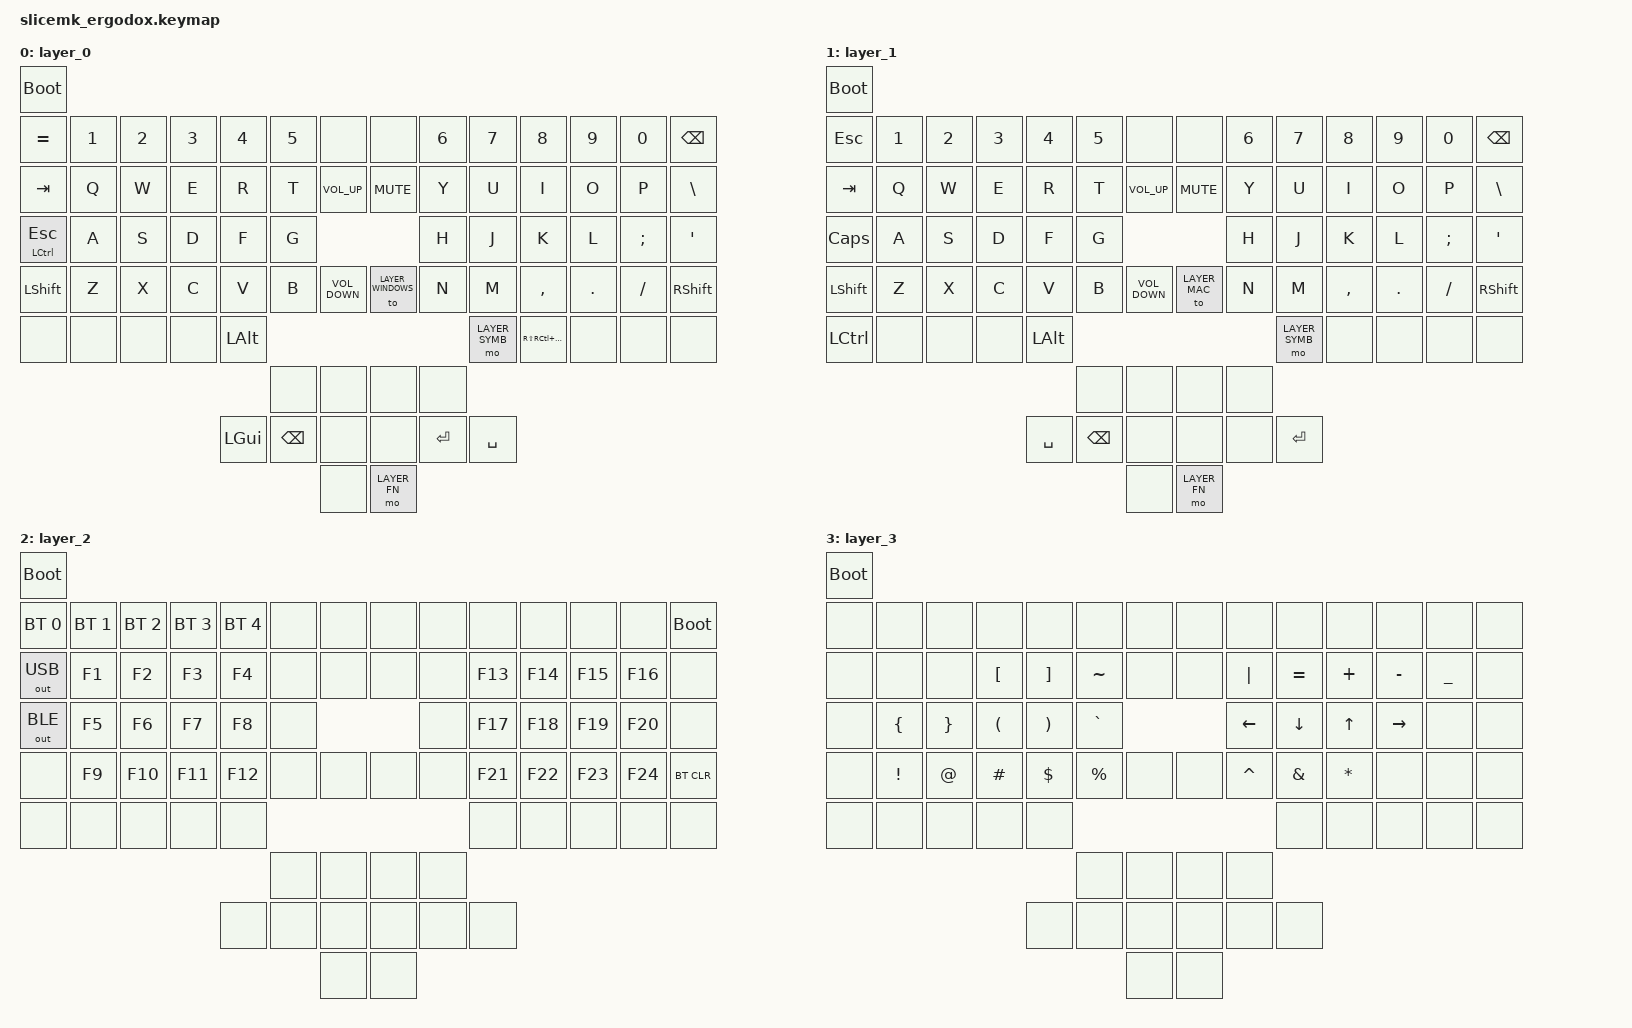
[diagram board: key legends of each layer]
#define LAYER_MAC 0
#define LAYER_WINDOWS 1
#define LAYER_FN 2
#define LAYER_SYMB 3

#include <behaviors.dtsi>
#include <dt-bindings/zmk/bt.h>
#include <dt-bindings/zmk/keys.h>
#include <dt-bindings/zmk/mouse.h>
#include <dt-bindings/zmk/outputs.h>
#include <dt-bindings/zmk/rgb.h>

/ {
	keymap {
		compatible = "zmk,keymap";
		layer_0 {
			bindings = <
				&bootloader
				&kp EQUAL               &kp NUMBER_1 &kp NUMBER_2 &kp NUMBER_3 &kp NUMBER_4 &kp NUMBER_5  &none             &none             &kp NUMBER_6 &kp NUMBER_7   &kp NUMBER_8          &kp NUMBER_9 &kp NUMBER_0  &kp BACKSPACE
				&kp TAB                 &kp Q        &kp W        &kp E        &kp R        &kp T         &kp C_VOLUME_UP   &kp C_MUTE        &kp Y        &kp U          &kp I                 &kp O        &kp P         &kp BACKSLASH
				&mt LEFT_CONTROL ESCAPE &kp A        &kp S        &kp D        &kp F        &kp G                                             &kp H        &kp J          &kp K                 &kp L        &kp SEMICOLON &kp SINGLE_QUOTE
				&kp LEFT_SHIFT          &kp Z        &kp X        &kp C        &kp V        &kp B         &kp C_VOLUME_DOWN &to LAYER_WINDOWS &kp N        &kp M          &kp COMMA             &kp PERIOD   &kp SLASH     &kp RIGHT_SHIFT
				&none                   &none        &none        &none        &kp LEFT_ALT                                                                &mo LAYER_SYMB &kp RS(RC(RIGHT_ALT)) &none        &none         &none
				                                                                            &none         &none             &none             &none
				                                                               &kp LEFT_GUI &kp BACKSPACE &none             &none             &kp RETURN   &kp SPACE
				                                                                                          &none             &mo LAYER_FN
			>;
		};
		layer_1 {
			bindings = <
				&bootloader
				&kp ESCAPE       &kp NUMBER_1 &kp NUMBER_2 &kp NUMBER_3 &kp NUMBER_4 &kp NUMBER_5  &none             &none         &kp NUMBER_6 &kp NUMBER_7   &kp NUMBER_8 &kp NUMBER_9 &kp NUMBER_0  &kp BACKSPACE
				&kp TAB          &kp Q        &kp W        &kp E        &kp R        &kp T         &kp C_VOLUME_UP   &kp C_MUTE    &kp Y        &kp U          &kp I        &kp O        &kp P         &kp BACKSLASH
				&kp CAPSLOCK     &kp A        &kp S        &kp D        &kp F        &kp G                                         &kp H        &kp J          &kp K        &kp L        &kp SEMICOLON &kp SINGLE_QUOTE
				&kp LEFT_SHIFT   &kp Z        &kp X        &kp C        &kp V        &kp B         &kp C_VOLUME_DOWN &to LAYER_MAC &kp N        &kp M          &kp COMMA    &kp PERIOD   &kp SLASH     &kp RIGHT_SHIFT
				&kp LEFT_CONTROL &none        &none        &none        &kp LEFT_ALT                                                            &mo LAYER_SYMB &none        &none        &none         &none
				                                                                     &none         &none             &none         &none
				                                                        &kp SPACE    &kp BACKSPACE &none             &none         &none        &kp RETURN
				                                                                                   &none             &mo LAYER_FN
			>;
		};
		layer_2 {
			bindings = <
				&bootloader
				&bt BT_SEL 0 &bt BT_SEL 1 &bt BT_SEL 2 &bt BT_SEL 3 &bt BT_SEL 4 &none &none &none &none &none   &none   &none   &none   &bootloader
				&out OUT_USB &kp F1       &kp F2       &kp F3       &kp F4       &none &none &none &none &kp F13 &kp F14 &kp F15 &kp F16 &none
				&out OUT_BLE &kp F5       &kp F6       &kp F7       &kp F8       &none             &none &kp F17 &kp F18 &kp F19 &kp F20 &none
				&none        &kp F9       &kp F10      &kp F11      &kp F12      &none &none &none &none &kp F21 &kp F22 &kp F23 &kp F24 &bt BT_CLR
				&none        &none        &none        &none        &none                                &none   &none   &none   &none   &none
				                                                                 &none &none &none &none
				                                                    &none        &none &none &none &none &none
				                                                                       &none &none
			>;
		};
		layer_3 {
			bindings = <
				&bootloader
				&none &none           &none           &none                &none                 &none       &none &none &none          &none          &none        &none           &none          &none
				&none &none           &none           &kp LEFT_BRACKET     &kp RIGHT_BRACKET     &kp TILDE   &none &none &kp PIPE       &kp EQUAL      &kp PLUS     &kp MINUS       &kp UNDERSCORE &none
				&none &kp LEFT_BRACE  &kp RIGHT_BRACE &kp LEFT_PARENTHESIS &kp RIGHT_PARENTHESIS &kp GRAVE               &kp LEFT_ARROW &kp DOWN_ARROW &kp UP_ARROW &kp RIGHT_ARROW &none          &none
				&none &kp EXCLAMATION &kp AT_SIGN     &kp HASH             &kp DOLLAR            &kp PERCENT &none &none &kp CARET      &kp AMPERSAND  &kp ASTERISK &none           &none          &none
				&none &none           &none           &none                &none                                                        &none          &none        &none           &none          &none
				                                                                                 &none       &none &none &none
				                                                           &none                 &none       &none &none &none          &none
				                                                                                             &none &none
			>;
		};
	};
};
